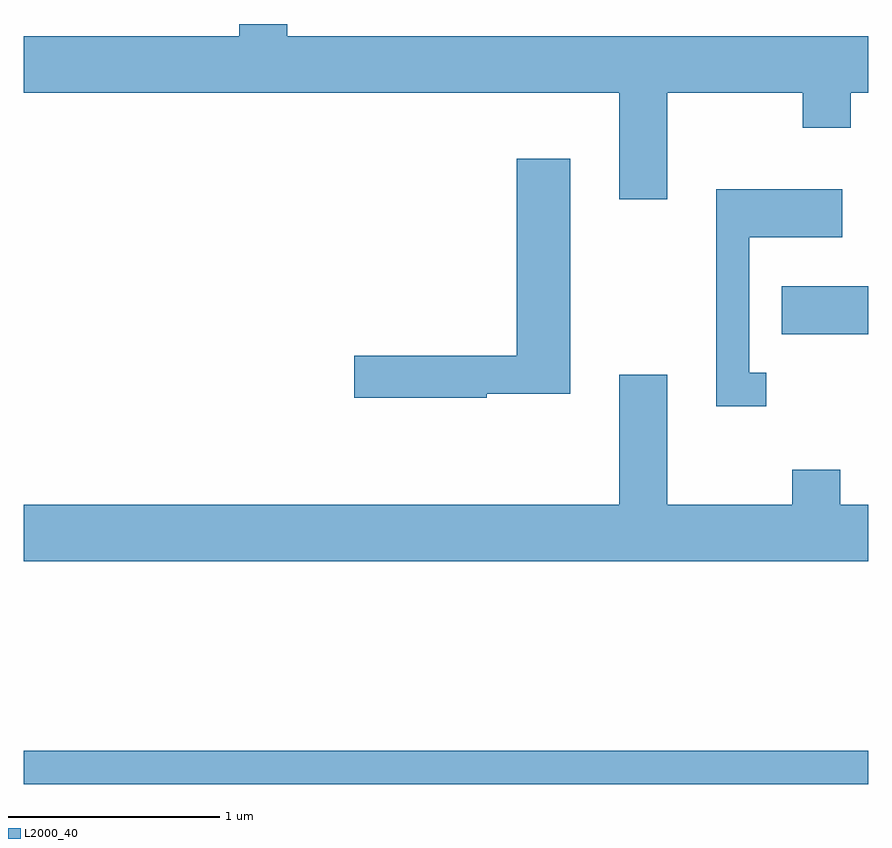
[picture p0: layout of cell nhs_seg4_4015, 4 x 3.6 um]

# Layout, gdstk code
import gdstk
lib = gdstk.Library(unit=1e-6, precision=1e-09)
def R(c, l, rs):  # rectangles x0, y0, x1, y1
    for r in rs: c.add(gdstk.rectangle(r[:2], r[2:], *l))
def P(c, l, *ps):  # polygons
    for p in ps: c.add(gdstk.Polygon(p, *l))
L2000_40 = (2000, 40)

nhs_seg4_4015 = lib.new_cell('nhs_seg4_4015')
R(nhs_seg4_4015, L2000_40, [(303.611,1260.381,307.611,1260.539), (307.201,1262.511,307.611,1262.739)])
P(nhs_seg4_4015, L2000_40, [(306.659,1263.656),(307.301,1263.656),(307.301,1263.491),(307.529,1263.491),(307.529,1263.656),(307.611,1263.656),(307.611,1263.924),(304.859,1263.924),(304.859,1263.982),(304.631,1263.982),(304.631,1263.924),(303.611,1263.924),(303.611,1263.656),(306.431,1263.656),(306.431,1263.151),(306.659,1263.151)],
  [(305.804,1262.231),(306.199,1262.231),(306.199,1263.344),(305.946,1263.344),(305.946,1262.409),(305.176,1262.409),(305.176,1262.211),(305.804,1262.211)],
  [(307.128,1262.329),(307.049,1262.329),(307.049,1262.971),(307.489,1262.971),(307.489,1263.199),(306.891,1263.199),(306.891,1262.171),(307.128,1262.171)],
  [(307.611,1261.704),(307.479,1261.704),(307.479,1261.869),(307.251,1261.869),(307.251,1261.704),(306.659,1261.704),(306.659,1262.319),(306.431,1262.319),(306.431,1261.704),(303.611,1261.704),(303.611,1261.436),(307.611,1261.436)])

lib.write_gds('nhs_seg4_4015.gds')
